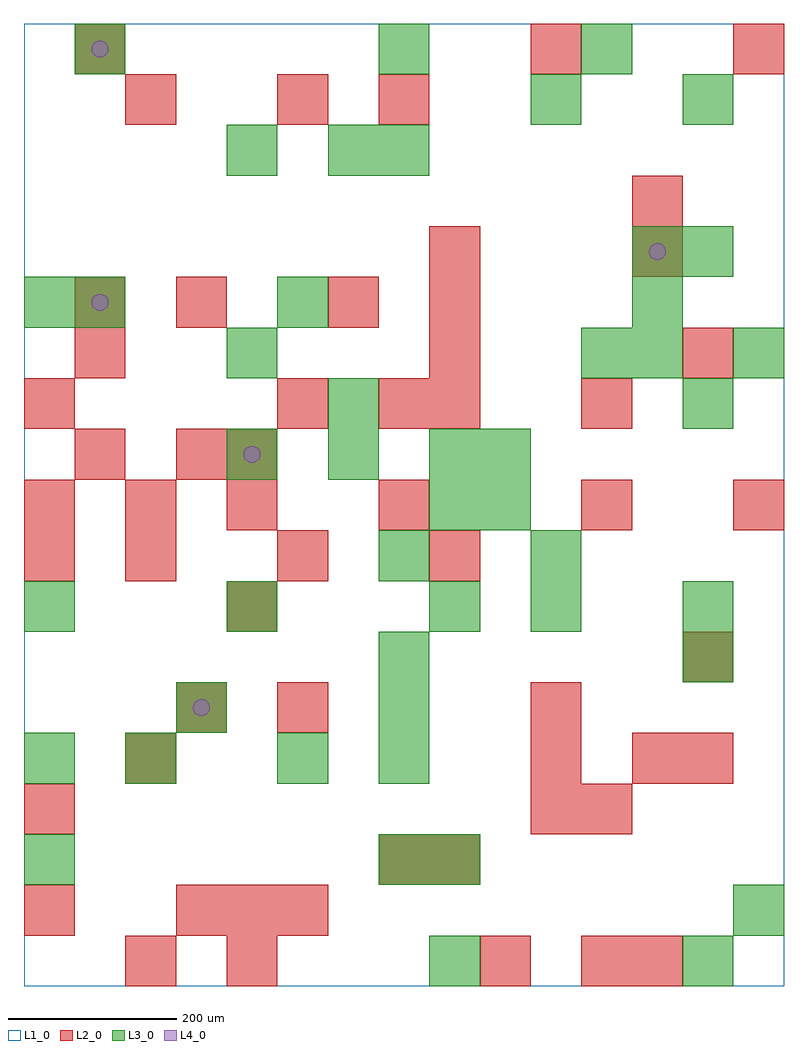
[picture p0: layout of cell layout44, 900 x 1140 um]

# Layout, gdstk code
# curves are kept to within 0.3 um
import gdstk
lib = gdstk.Library(unit=1e-6, precision=1e-09)
def R(c, l, rs):  # rectangles x0, y0, x1, y1
    for r in rs: c.add(gdstk.rectangle(r[:2], r[2:], *l))
def A(c, l, x, y, w, h, nx, ny, dx, dy):  # array of equal rectangles
    R(c, l, [(x+i*dx, y+j*dy, x+i*dx+w, y+j*dy+h) for i in range(nx) for j in range(ny)])
def P(c, l, *ps):  # polygons
    for p in ps: c.add(gdstk.Polygon(p, *l))
L1_0 = (1, 0)
L2_0 = (2, 0)
L3_0 = (3, 0)
L4_0 = (4, 0)

layout44 = lib.new_cell('layout44')
R(layout44, L1_0, [(0,0,900,1140)])
A(layout44, L2_0, 180, 60, 60, 60, 3, 1, 60, 0)
A(layout44, L2_0, 600, 180, 60, 60, 1, 3, 0, 60)
A(layout44, L2_0, 300, 300, 60, 60, 1, 3, 0, 360)
A(layout44, L2_0, 120, 480, 60, 60, 3, 1, 180, 0)
A(layout44, L2_0, 0, 540, 60, 60, 3, 1, 120, 0)
A(layout44, L2_0, 480, 660, 60, 60, 1, 4, 0, 60)
R(layout44, L2_0, [(120,0,180,60), (240,0,300,60), (540,0,600,60), (660,0,720,60), (720,0,780,60), (0,60,60,120), (420,120,480,180), (480,120,540,180), (0,180,60,240), (660,180,720,240), (120,240,180,300), (720,240,780,300), (780,240,840,300), (180,300,240,360), (780,360,840,420), (240,420,300,480), (0,480,60,540), (420,540,480,600), (660,540,720,600), (840,540,900,600), (60,600,120,660), (180,600,240,660), (240,600,300,660), (0,660,60,720), (420,660,480,720), (660,660,720,720), (60,720,120,780), (780,720,840,780), (60,780,120,840), (180,780,240,840), (360,780,420,840), (720,840,780,900), (720,900,780,960), (120,1020,180,1080), (420,1020,480,1080), (60,1080,120,1140), (600,1080,660,1140), (840,1080,900,1140)])
A(layout44, L3_0, 420, 240, 60, 60, 1, 3, 0, 60)
A(layout44, L3_0, 0, 420, 60, 60, 3, 1, 240, 0)
A(layout44, L3_0, 240, 600, 60, 60, 3, 1, 120, 0)
A(layout44, L3_0, 780, 660, 60, 60, 1, 3, 0, 180)
A(layout44, L3_0, 720, 720, 60, 60, 1, 3, 0, 60)
R(layout44, L3_0, [(480,0,540,60), (780,0,840,60), (840,60,900,120), (0,120,60,180), (420,120,480,180), (480,120,540,180), (0,240,60,300), (120,240,180,300), (300,240,360,300), (180,300,240,360), (780,360,840,420), (600,420,660,480), (780,420,840,480), (420,480,480,540), (600,480,660,540), (480,540,540,600), (540,540,600,600), (540,600,600,660), (360,660,420,720), (240,720,300,780), (660,720,720,780), (840,720,900,780), (0,780,60,840), (60,780,120,840), (300,780,360,840), (240,960,300,1020), (360,960,420,1020), (420,960,480,1020), (600,1020,660,1080), (60,1080,120,1140), (420,1080,480,1140), (660,1080,720,1140)])
P(layout44, L4_0, [(100,810),(99.239,813.827),(97.071,817.071),(93.827,819.239),(90,820),(86.173,819.239),(82.929,817.071),(80.761,813.827),(80,810),(80.761,806.173),(82.929,802.929),(86.173,800.761),(90,800),(93.827,800.761),(97.071,802.929),(99.239,806.173)],
  [(100,1110),(99.239,1113.827),(97.071,1117.071),(93.827,1119.239),(90,1120),(86.173,1119.239),(82.929,1117.071),(80.761,1113.827),(80,1110),(80.761,1106.173),(82.929,1102.929),(86.173,1100.761),(90,1100),(93.827,1100.761),(97.071,1102.929),(99.239,1106.173)],
  [(220,330),(219.239,333.827),(217.071,337.071),(213.827,339.239),(210,340),(206.173,339.239),(202.929,337.071),(200.761,333.827),(200,330),(200.761,326.173),(202.929,322.929),(206.173,320.761),(210,320),(213.827,320.761),(217.071,322.929),(219.239,326.173)],
  [(280,630),(279.239,633.827),(277.071,637.071),(273.827,639.239),(270,640),(266.173,639.239),(262.929,637.071),(260.761,633.827),(260,630),(260.761,626.173),(262.929,622.929),(266.173,620.761),(270,620),(273.827,620.761),(277.071,622.929),(279.239,626.173)],
  [(760,870),(759.239,873.827),(757.071,877.071),(753.827,879.239),(750,880),(746.173,879.239),(742.929,877.071),(740.761,873.827),(740,870),(740.761,866.173),(742.929,862.929),(746.173,860.761),(750,860),(753.827,860.761),(757.071,862.929),(759.239,866.173)])

lib.write_gds('layout44.gds')
